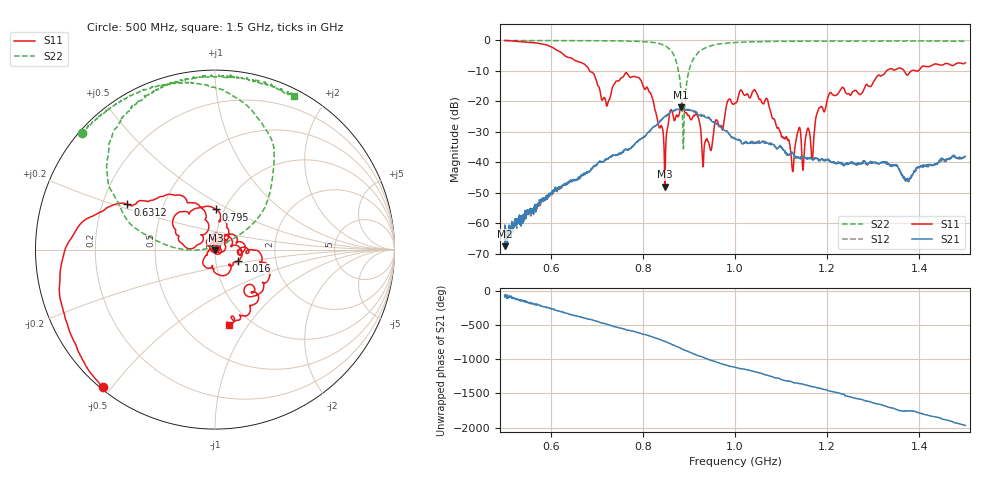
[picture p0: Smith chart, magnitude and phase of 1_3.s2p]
!Agilent Technologies,E8364B,US42250235,A.06.04.32
!Agilent E8364B: A.06.04.32
!Date: Friday, January 15, 2021 12:06:17
!Correction: S11(Full 2 Port(1,2)) S21(Full 2 Port(1,2)) S12(Full 2 Port(1,2)) S22(Full 2 Port(1,2))
!S2P File: Measurements: S11, S21, S12, S22:
# Hz S  dB  R 50
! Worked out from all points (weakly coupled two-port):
!   1601 points, 500 MHz to 1.5 GHz, reference 50 ohm
!   highest |S21| = -22.05 dB at 883.1 MHz (marker M1); lowest = -67.5 dB at 501.2 MHz (marker M2)
!   lowest |S11| = -48.0 dB at 847.5 MHz (marker M3), VSWR 1.01, Z = 50.3 - j0.284 ohm
!   |S11| at or under -10 dB: 684.1 MHz to 1.329 GHz (645.2 MHz wide, 64.1 % of centre); 1.367 GHz to 1.384 GHz (17.08 MHz wide, 1.24 % of centre); 1.39188 GHz to 1.398079 GHz (6.199 MHz wide, 0.444 % of centre)
!   |S22| runs from -35.6 to -0.1 dB; largest |S21 - S12| = 0.012
!   S11 on the Smith chart (normalised r, x): 500 MHz: 0.01, -0.47; 631.2 MHz: 0.31, +0.22; 795 MHz: 0.91, +0.43; 1.016 GHz: 1.29, -0.16; 1.5 GHz: 0.80, -0.81
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5e8  -0.10 -129.3  -65.36 -79.3  -64.82 -93.0  -0.11 138.8
5.0125e8  -0.11 -129.8  -67.54 -53.9  -62.62 -83.3  -0.11 138.8
6.3125e8  -5.20 152.7  -47.10 35.7  -47.16 31.4  -0.16 126.1
6.66875e8  -7.37 137.0  -44.53 -24.1  -44.61 -32.1  -0.16 122.2
7.225e8  -21.54 152.3  -38.92 -131.1  -39.03 -139.6  -0.22 115.2
7.95e8  -13.00 88.9  -32.38 97.4  -32.41 87.8  -0.47 101.8
8.3375e8  -27.70 45.0  -27.21 16.4  -27.35 6.4  -1.04 86.6
8.475e8  -48.04 -45.5  -25.07 -18.8  -25.35 -29.2  -1.75 76.9
8.71875e8  -24.97 104.9  -22.65 -90.2  -22.88 -98.9  -6.80 47.4
8.83125e8  -21.08 96.3  -22.05 -124.2  -22.16 -131.6  -16.77 31.0
8.89375e8  -22.95 64.7  -22.71 -145.0  -22.65 -152.3  -27.00 173.9
9.18125e8  -24.66 6.0  -24.14 136.1  -23.86 126.8  -4.40 153.9
9.325e8  -36.65 38.8  -24.88 103.2  -24.65 92.4  -2.78 145.5
1e9  -20.65 10.7  -32.25 -38.8  -32.29 -48.3  -0.80 121.0
1.015625e9  -16.81 -25.2  -34.05 -63.0  -33.59 -74.2  -0.68 118.3
1.069375e9  -19.21 -121.5  -33.74 -154.0  -33.67 -169.5  -0.47 109.9
1.124375e9  -42.41 -169.8  -36.81 104.0  -37.03 93.5  -0.36 103.2
1.1375e9  -29.53 2.7  -38.46 86.6  -38.31 74.3  -0.33 101.4
1.166875e9  -38.54 41.9  -38.98 38.4  -38.62 29.8  -0.36 98.0
1.205625e9  -17.34 35.8  -39.55 -28.2  -39.76 -39.2  -0.27 94.0
1.33375e9  -9.56 -22.7  -40.66 96.2  -40.90 103.9  -0.27 81.1
1.5e9  -7.41 -79.7  -38.08 -169.7  -38.45 -166.2  -0.35 62.7
